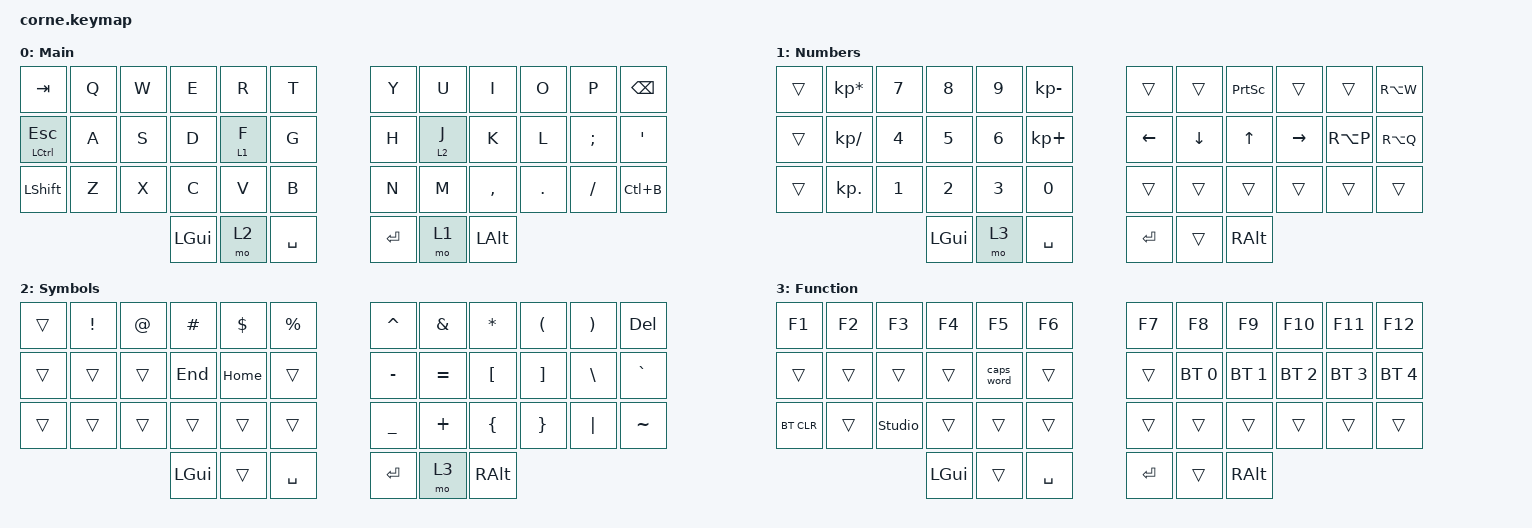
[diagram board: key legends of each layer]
/*
  * Copyright (c) 2020 The ZMK Contributors
  *
  * SPDX-License-Identifier: MIT
  */

#include <behaviors.dtsi>
#include <dt-bindings/zmk/bt.h>
#include <dt-bindings/zmk/keys.h>

/ {
    keymap {
        compatible = "zmk,keymap";

        main {
		display-name = "Main";
            bindings = <
&kp TAB                  &kp Q  &kp W  &kp E         &kp R    &kp T        &kp Y      &kp U    &kp I         &kp O    &kp P          &kp BACKSPACE
&mt LEFT_CONTROL ESCAPE  &kp A  &kp S  &kp D         &lt 1 F  &kp G        &kp H      &lt 2 J  &kp K         &kp L    &kp SEMICOLON  &kp SINGLE_QUOTE
&kp LEFT_SHIFT           &kp Z  &kp X  &kp C         &kp V    &kp B        &kp N      &kp M    &kp COMMA     &kp DOT  &kp SLASH      &kp LC(B)
                                       &kp LEFT_GUI  &mo 2    &kp SPACE    &kp ENTER  &mo 1    &kp LEFT_ALT
            >;
        };

        numbers {
		display-name = "Numbers";
            bindings = <
&trans  &kp KP_ASTERISK  &kp N7  &kp N8        &kp N9  &kp KP_MINUS    &trans     &trans    &kp PRINTSCREEN  &trans     &trans     &kp RA(W)
&trans  &kp KP_SLASH     &kp N4  &kp N5        &kp N6  &kp KP_PLUS     &kp LEFT   &kp DOWN  &kp UP           &kp RIGHT  &kp RA(P)  &kp RA(Q)
&trans  &kp KP_DOT       &kp N1  &kp N2        &kp N3  &kp N0          &trans     &trans    &trans           &trans     &trans     &trans
                                 &kp LEFT_GUI  &mo 3   &kp SPACE       &kp ENTER  &trans    &kp RIGHT_ALT
            >;
        };

        symbols {
		display-name = "Symbols";
            bindings = <
&trans  &kp EXCLAMATION  &kp AT  &kp HASH      &kp DOLLAR  &kp PERCENT    &kp CARET       &kp AMPERSAND  &kp ASTERISK      &kp LEFT_PARENTHESIS  &kp RIGHT_PARENTHESIS  &kp DELETE
&trans  &trans           &trans  &kp END       &kp HOME    &trans         &kp MINUS       &kp EQUAL      &kp LEFT_BRACKET  &kp RIGHT_BRACKET     &kp BACKSLASH          &kp GRAVE
&trans  &trans           &trans  &trans        &trans      &trans         &kp UNDERSCORE  &kp PLUS       &kp LEFT_BRACE    &kp RIGHT_BRACE       &kp PIPE               &kp TILDE
                                 &kp LEFT_GUI  &trans      &kp SPACE      &kp ENTER       &mo 3          &kp RIGHT_ALT
            >;
        };

        function {
		display-name = "Function";
            bindings = <
&kp F1      &kp F2  &kp F3  &kp F4        &kp F5      &kp F6       &kp F7     &kp F8        &kp F9         &kp F10       &kp F11       &kp F12
&trans      &trans  &trans  &trans        &caps_word  &trans       &trans     &bt BT_SEL 0  &bt BT_SEL 1   &bt BT_SEL 2  &bt BT_SEL 3  &bt BT_SEL 4
&bt BT_CLR  &trans  &studio_unlock  &trans        &trans      &trans       &trans     &trans        &trans         &trans        &trans        &trans
                            &kp LEFT_GUI  &trans      &kp SPACE    &kp ENTER  &trans        &kp RIGHT_ALT
            >;
        };
    };
};
